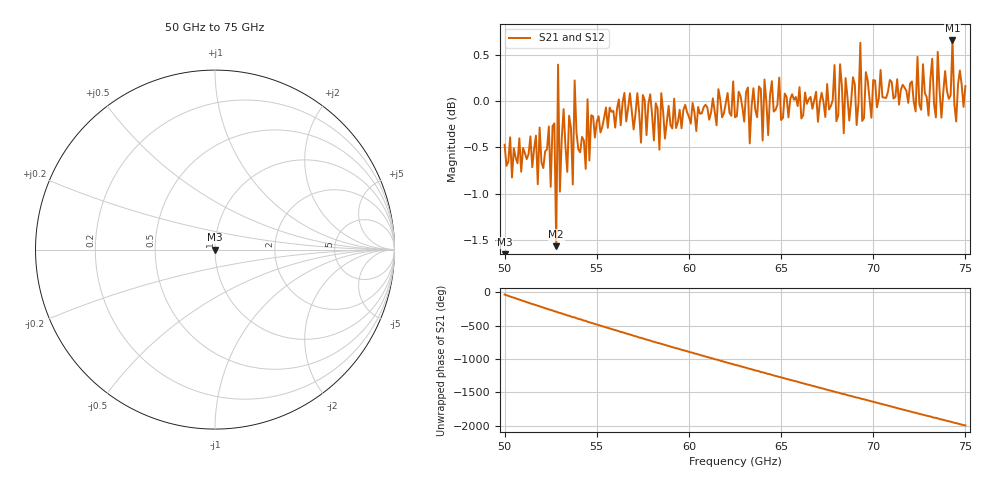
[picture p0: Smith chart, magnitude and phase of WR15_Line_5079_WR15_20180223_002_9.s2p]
# GHZ S RI R 50
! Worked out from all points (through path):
!   251 points, 50 GHz to 75 GHz, reference 50 ohm
!   highest |S21| = 0.66 dB at 74.3 GHz (marker M1); lowest = -1.6 dB at 52.8 GHz (marker M2)
!   lowest |S11| = - dB at 50 GHz (marker M3), VSWR 1.00, Z = 50 + j2.15e-16 ohm
!   |S11| at or under -10 dB: start of sweep to end of sweep
!   |S22| runs from - to - dB; largest |S21 - S12| = 2e-15
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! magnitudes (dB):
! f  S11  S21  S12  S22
! 50 GHz  -  -0.5  -0.5  -
! 52.4 GHz  -  -0.3  -0.3  -
! 52.5 GHz  -  -0.9  -0.9  -
! 52.7 GHz  -  -0.2  -0.2  -
! 52.8 GHz  -  -1.6  -1.6  -
! 52.9 GHz  -  0.4  0.4  -
! 53 GHz  -  -1.0  -1.0  -
! 53.2 GHz  -  -0.1  -0.1  -
! 53.7 GHz  -  -0.9  -0.9  -
! 53.8 GHz  -  0.2  0.2  -
! 54.2 GHz  -  -0.4  -0.4  -
! 58.4 GHz  -  -0.5  -0.5  -
! 58.5 GHz  -  0.1  0.1  -
! 62.5 GHz  -  -0.2  -0.2  -
! 66.7 GHz  -  -0.1  -0.1  -
! 70.9 GHz  -  0.2  0.2  -
! 73.4 GHz  -  -0.2  -0.2  -
! 73.5 GHz  -  0.5  0.5  -
! 73.7 GHz  -  -0.2  -0.2  -
! 74.3 GHz  -  0.7  0.7  -
! 74.5 GHz  -  -0.2  -0.2  -
! 75 GHz  -  0.2  0.2  -
